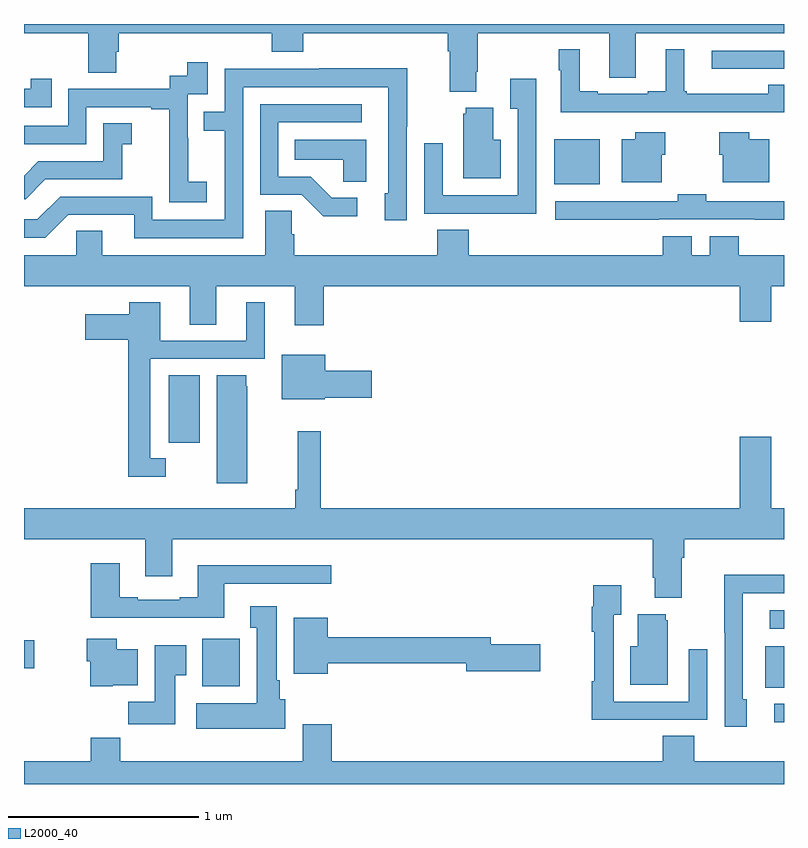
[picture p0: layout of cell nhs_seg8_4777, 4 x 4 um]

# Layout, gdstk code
import gdstk
lib = gdstk.Library(unit=1e-6, precision=1e-09)
def R(c, l, rs):  # rectangles x0, y0, x1, y1
    for r in rs: c.add(gdstk.rectangle(r[:2], r[2:], *l))
def P(c, l, *ps):  # polygons
    for p in ps: c.add(gdstk.Polygon(p, *l))
L2000_40 = (2000, 40)

nhs_seg8_4777 = lib.new_cell('nhs_seg8_4777')
R(nhs_seg8_4777, L2000_40, [(404.949,1094.225,405,1094.322), (404.9,1094.407,405,1094.626), (401.939,1094.414,402.135,1094.665), (401,1094.51,401.053,1094.657), (404.925,1094.718,405,1094.814), (401.762,1095.696,401.926,1096.052), (403.79,1097.057,404.029,1097.293), (404.619,1097.664,405,1097.76)])
P(nhs_seg8_4777, L2000_40, [(403.381,1097.65),(403.389,1097.65),(403.389,1097.852),(404.081,1097.852),(404.081,1097.617),(404.221,1097.617),(404.221,1097.852),(405,1097.852),(405,1097.9),(401,1097.9),(401,1097.852),(401.338,1097.852),(401.338,1097.644),(401.485,1097.644),(401.485,1097.754),(401.498,1097.754),(401.498,1097.852),(402.305,1097.852),(402.305,1097.753),(402.47,1097.753),(402.47,1097.852),(403.229,1097.852),(403.229,1097.756),(403.241,1097.756),(403.241,1097.543),(403.381,1097.543)],
  [(404.12,1097.436),(405,1097.436),(405,1097.579),(404.918,1097.579),(404.918,1097.533),(404.488,1097.533),(404.488,1097.545),(404.476,1097.545),(404.476,1097.767),(404.378,1097.767),(404.378,1097.545),(404.282,1097.545),(404.282,1097.532),(404.02,1097.532),(404.02,1097.545),(403.924,1097.545),(403.924,1097.767),(403.815,1097.767),(403.815,1097.657),(403.826,1097.657),(403.826,1097.435),(404.12,1097.435)],
  [(401.962,1097.071),(401.864,1097.071),(401.864,1097.3),(401.862,1097.3),(401.862,1097.529),(401.967,1097.529),(401.967,1097.698),(401.859,1097.698),(401.859,1097.628),(401.766,1097.628),(401.766,1097.559),(401.232,1097.559),(401.232,1097.364),(401,1097.364),(401,1097.268),(401.328,1097.268),(401.328,1097.463),(401.669,1097.463),(401.669,1097.451),(401.765,1097.451),(401.765,1097.167),(401.764,1097.167),(401.764,1096.961),(401.962,1096.961)],
  [(402.153,1097.568),(402.918,1097.568),(402.918,1097.01),(402.899,1097.01),(402.899,1096.866),(403.014,1096.866),(403.014,1097.359),(403.017,1097.359),(403.017,1097.666),(402.553,1097.666),(402.553,1097.664),(402.057,1097.664),(402.057,1097.439),(401.947,1097.439),(401.947,1097.338),(402.057,1097.338),(402.057,1096.869),(401.676,1096.869),(401.676,1096.992),(401.19,1096.992),(401.07,1096.872),(401,1096.872),(401,1096.776),(401.112,1096.776),(401.232,1096.896),(401.579,1096.896),(401.579,1096.773),(402.153,1096.773)],
  [(401.147,1097.611),(401.036,1097.611),(401.036,1097.559),(401,1097.559),(401,1097.463),(401.147,1097.463)],
  [(403.695,1097.389),(403.696,1097.389),(403.696,1097.611),(403.559,1097.611),(403.559,1097.455),(403.599,1097.455),(403.599,1096.998),(403.203,1096.998),(403.203,1097.272),(403.107,1097.272),(403.107,1096.902),(403.423,1096.902),(403.423,1096.901),(403.695,1096.901)],
  [(402.754,1096.986),(402.619,1096.986),(402.508,1097.097),(402.339,1097.097),(402.339,1097.382),(402.778,1097.382),(402.778,1097.478),(402.243,1097.478),(402.243,1097.001),(402.462,1097.001),(402.575,1096.889),(402.754,1096.889)],
  [(403.51,1097.29),(403.471,1097.29),(403.471,1097.458),(403.325,1097.458),(403.325,1097.427),(403.313,1097.427),(403.313,1097.087),(403.51,1097.087)],
  [(401.113,1097.082),(401.517,1097.082),(401.517,1097.267),(401.566,1097.267),(401.566,1097.377),(401.418,1097.377),(401.418,1097.178),(401.076,1097.178),(401,1097.102),(401,1096.977),(401.008,1096.977)],
  [(404.356,1097.211),(404.374,1097.211),(404.374,1097.329),(404.216,1097.329),(404.216,1097.293),(404.147,1097.293),(404.147,1097.066),(404.356,1097.066)],
  [(404.923,1097.293),(404.818,1097.293),(404.818,1097.329),(404.66,1097.329),(404.66,1097.211),(404.678,1097.211),(404.678,1097.066),(404.923,1097.066)],
  [(402.802,1097.29),(402.424,1097.29),(402.424,1097.186),(402.681,1097.186),(402.681,1097.071),(402.802,1097.071)],
  [(404.342,1096.872),(404.845,1096.872),(404.845,1096.871),(405,1096.871),(405,1096.968),(404.592,1096.968),(404.592,1097.004),(404.442,1097.004),(404.442,1096.968),(403.797,1096.968),(403.797,1096.871),(404.342,1096.871)],
  [(402.578,1096.52),(404.768,1096.52),(404.768,1096.332),(404.932,1096.332),(404.932,1096.52),(405,1096.52),(405,1096.684),(404.762,1096.684),(404.762,1096.783),(404.609,1096.783),(404.609,1096.684),(404.515,1096.684),(404.515,1096.783),(404.363,1096.783),(404.363,1096.684),(403.34,1096.684),(403.34,1096.817),(403.175,1096.817),(403.175,1096.684),(402.422,1096.684),(402.422,1096.793),(402.408,1096.793),(402.408,1096.916),(402.269,1096.916),(402.269,1096.684),(401.413,1096.684),(401.413,1096.811),(401.274,1096.811),(401.274,1096.684),(401,1096.684),(401,1096.52),(401.873,1096.52),(401.873,1096.318),(402.013,1096.318),(402.013,1096.52),(402.425,1096.52),(402.425,1096.314),(402.578,1096.314)],
  [(401.746,1095.615),(401.664,1095.615),(401.664,1096.137),(402.268,1096.137),(402.268,1096.435),(402.17,1096.435),(402.17,1096.233),(401.716,1096.233),(401.716,1096.435),(401.555,1096.435),(401.555,1096.372),(401.322,1096.372),(401.322,1096.238),(401.548,1096.238),(401.548,1095.518),(401.746,1095.518)],
  [(402.582,1095.932),(402.829,1095.932),(402.829,1096.074),(402.586,1096.074),(402.586,1096.159),(402.356,1096.159),(402.356,1095.926),(402.582,1095.926)],
  [(402.175,1095.993),(402.169,1095.993),(402.169,1096.052),(402.014,1096.052),(402.014,1095.483),(402.175,1095.483)],
  [(404.461,1095.092),(404.474,1095.092),(404.474,1095.188),(405,1095.188),(405,1095.352),(404.932,1095.352),(404.932,1095.727),(404.768,1095.727),(404.768,1095.352),(402.563,1095.352),(402.563,1095.757),(402.442,1095.757),(402.442,1095.448),(402.427,1095.448),(402.427,1095.352),(401,1095.352),(401,1095.188),(401.639,1095.188),(401.639,1094.994),(401.779,1094.994),(401.779,1095.188),(404.309,1095.188),(404.309,1094.986),(404.321,1094.986),(404.321,1094.879),(404.461,1094.879)],
  [(402.055,1094.955),(402.616,1094.955),(402.616,1095.052),(401.915,1095.052),(401.915,1094.884),(401.819,1094.884),(401.819,1094.871),(401.599,1094.871),(401.599,1094.884),(401.503,1094.884),(401.503,1095.061),(401.351,1095.061),(401.351,1094.774),(402.055,1094.774)],
  [(404.803,1094.346),(404.784,1094.346),(404.784,1094.904),(405,1094.904),(405,1095.002),(404.686,1095.002),(404.686,1094.695),(404.688,1094.695),(404.688,1094.202),(404.803,1094.202)],
  [(404.279,1094.238),(404.595,1094.238),(404.595,1094.608),(404.499,1094.608),(404.499,1094.334),(404.103,1094.334),(404.103,1094.791),(404.143,1094.791),(404.143,1094.947),(403.995,1094.947),(403.995,1094.834),(403.987,1094.834),(403.987,1094.702),(404.002,1094.702),(404.002,1094.441),(403.987,1094.441),(403.987,1094.237),(404.279,1094.237)],
  [(402.376,1094.346),(402.346,1094.346),(402.346,1094.446),(402.331,1094.446),(402.331,1094.836),(402.191,1094.836),(402.191,1094.723),(402.224,1094.723),(402.224,1094.326),(401.907,1094.326),(401.907,1094.192),(402.376,1094.192)],
  [(404.389,1094.763),(404.378,1094.763),(404.378,1094.794),(404.231,1094.794),(404.231,1094.626),(404.192,1094.626),(404.192,1094.423),(404.389,1094.423)],
  [(402.598,1094.536),(403.328,1094.536),(403.328,1094.494),(403.717,1094.494),(403.717,1094.636),(403.456,1094.636),(403.456,1094.672),(402.598,1094.672),(402.598,1094.776),(402.419,1094.776),(402.419,1094.48),(402.598,1094.48)],
  [(401.466,1094.42),(401.599,1094.42),(401.599,1094.608),(401.488,1094.608),(401.488,1094.665),(401.33,1094.665),(401.33,1094.547),(401.348,1094.547),(401.348,1094.414),(401.466,1094.414)],
  [(401.797,1094.473),(401.854,1094.473),(401.854,1094.629),(401.687,1094.629),(401.687,1094.332),(401.548,1094.332),(401.548,1094.214),(401.797,1094.214)],
  [(401.507,1094.144),(401.351,1094.144),(401.351,1094.02),(401,1094.02),(401,1093.9),(405,1093.9),(405,1094.02),(404.528,1094.02),(404.528,1094.153),(404.363,1094.153),(404.363,1094.02),(402.62,1094.02),(402.62,1094.215),(402.467,1094.215),(402.467,1094.02),(401.507,1094.02)])

lib.write_gds('nhs_seg8_4777.gds')
